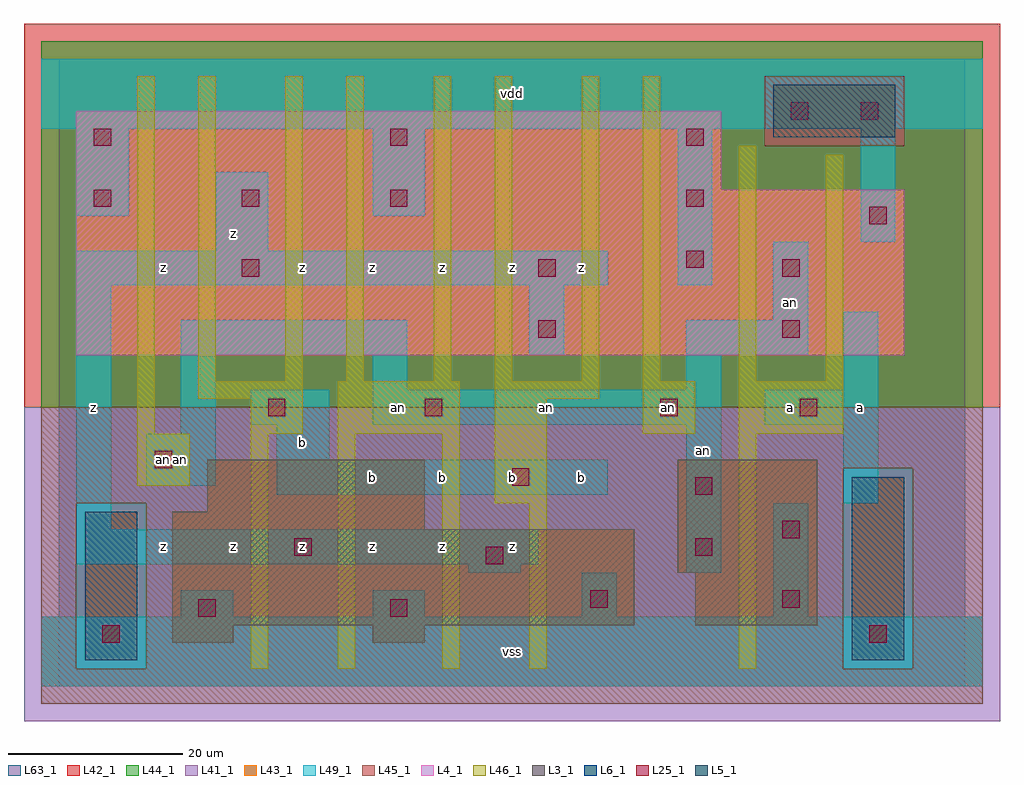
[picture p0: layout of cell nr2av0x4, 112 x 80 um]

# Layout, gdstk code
import gdstk
lib = gdstk.Library(unit=1e-6, precision=1e-09)
def R(c, l, rs):  # rectangles x0, y0, x1, y1
    for r in rs: c.add(gdstk.rectangle(r[:2], r[2:], *l))
def A(c, l, x, y, w, h, nx, ny, dx, dy):  # array of equal rectangles
    R(c, l, [(x+i*dx, y+j*dy, x+i*dx+w, y+j*dy+h) for i in range(nx) for j in range(ny)])
L3_1 = (3, 1)
L4_1 = (4, 1)
L5_1 = (5, 1)
L6_1 = (6, 1)
L25_1 = (25, 1)
L41_1 = (41, 1)
L42_1 = (42, 1)
L43_1 = (43, 1)
L44_1 = (44, 1)
L45_1 = (45, 1)
L46_1 = (46, 1)
L49_1 = (49, 1)
L63_1 = (63, 1)

nr2av0x4 = lib.new_cell('nr2av0x4')
R(nr2av0x4, L3_1, [(13,5,20,7), (36,5,42,7), (13,7,66,18), (73,7,87,13), (71,13,87,26), (13,18,42,20), (17,20,42,26)])
R(nr2av0x4, L4_1, [(2,38,97,57), (2,57,76,66)])
R(nr2av0x4, L5_1, [(82,63,96,69)])
R(nr2av0x4, L6_1, [(3,3,9,20), (3,3,9,20), (91,3,97,24), (91,3,97,24)])
A(nr2av0x4, L25_1, 4, 55, 2, 2, 3, 1, 17, 0)
A(nr2av0x4, L25_1, 4, 62, 2, 2, 3, 1, 34, 0)
R(nr2av0x4, L25_1, [(5,5,7,7), (93,5,95,7), (16,8,18,10), (38,8,40,10), (61,9,63,11), (83,9,85,11), (49,14,51,16), (27,15,29,17), (73,15,75,17), (83,17,85,19), (73,22,75,24), (52,23,54,25), (11,25,13,27), (24,31,26,33), (42,31,44,33), (69,31,71,33), (85,31,87,33), (55,40,57,42), (83,40,85,42), (21,47,23,49), (55,47,57,49), (83,47,85,49), (72,48,74,50), (93,53,95,55), (72,55,74,57), (84,65,86,67), (92,65,94,67)])
R(nr2av0x4, L41_1, [(-4,-4,108,32)])
R(nr2av0x4, L42_1, [(-4,32,108,76)])
R(nr2av0x4, L43_1, [(3,3,9,20), (91,3,97,24), (13,5,20,7), (36,5,42,7), (13,7,66,18), (73,7,87,13), (71,13,87,26), (13,18,42,20), (17,20,42,26), (2,38,97,57), (2,57,76,66), (82,63,96,69)])
R(nr2av0x4, L44_1, [(2,2,10,21), (90,2,98,25), (-2,32,106,62), (-2,62,81,70), (97,62,106,70), (-2,70,106,74)])
R(nr2av0x4, L45_1, [(-2,-2,106,2), (-2,2,2,21), (10,2,90,21), (98,2,106,25), (-2,21,90,25), (-2,25,106,32), (81,62,97,70)])
R(nr2av0x4, L46_1, [(22,2,24,29), (32,2,34,29), (44,2,46,29), (54,2,56,21), (78,2,80,29), (50,21,56,33), (9,23,15,29), (9,29,11,70), (22,29,28,33), (32,29,46,35), (67,29,73,35), (78,29,90,35), (16,33,28,35), (50,33,62,35), (16,35,18,70), (26,35,28,70), (33,35,35,70), (43,35,45,70), (50,35,52,70), (60,35,62,70), (67,35,69,70), (78,35,80,62), (88,35,90,61)])
R(nr2av0x4, L49_1, [(-2,0,106,8), (14,8,20,11), (36,8,42,11), (60,8,64,13), (82,8,86,21), (47,13,53,14), (72,13,76,30), (2,14,55,18), (2,18,6,46), (90,21,94,30), (25,22,63,26), (10,23,18,29), (25,26,31,30), (14,29,18,38), (22,30,31,34), (36,30,76,34), (81,30,94,34), (36,34,40,38), (72,34,76,38), (90,34,94,43), (14,38,40,42), (54,38,58,46), (72,38,86,42), (82,42,86,51), (2,46,63,50), (71,46,75,64), (18,50,24,59), (92,51,96,64), (2,54,8,64), (36,54,42,64), (-2,64,106,72)])
R(nr2av0x4, L63_1, [(0,0,104,72)])
nr2av0x4.add(gdstk.Label('an', (12,26), layer=49, texttype=1))
nr2av0x4.add(gdstk.Label('an', (39,32), layer=46, texttype=1))
nr2av0x4.add(gdstk.Label('an', (70,32), layer=49, texttype=1))
nr2av0x4.add(gdstk.Label('z', (12,16), layer=49, texttype=1))
nr2av0x4.add(gdstk.Label('z', (4,32), layer=49, texttype=1))
nr2av0x4.add(gdstk.Label('an', (14,26), layer=49, texttype=1))
nr2av0x4.add(gdstk.Label('z', (12,48), layer=49, texttype=1))
nr2av0x4.add(gdstk.Label('z', (28,16), layer=49, texttype=1))
nr2av0x4.add(gdstk.Label('z', (36,16), layer=49, texttype=1))
nr2av0x4.add(gdstk.Label('z', (20,16), layer=49, texttype=1))
nr2av0x4.add(gdstk.Label('b', (36,24), layer=49, texttype=1))
nr2av0x4.add(gdstk.Label('b', (28,28), layer=49, texttype=1))
nr2av0x4.add(gdstk.Label('z', (20,52), layer=49, texttype=1))
nr2av0x4.add(gdstk.Label('z', (28,48), layer=49, texttype=1))
nr2av0x4.add(gdstk.Label('z', (36,48), layer=49, texttype=1))
nr2av0x4.add(gdstk.Label('vss', (52,4), layer=49, texttype=1))
nr2av0x4.add(gdstk.Label('z', (52,16), layer=49, texttype=1))
nr2av0x4.add(gdstk.Label('z', (44,16), layer=49, texttype=1))
nr2av0x4.add(gdstk.Label('b', (44,24), layer=49, texttype=1))
nr2av0x4.add(gdstk.Label('b', (52,24), layer=49, texttype=1))
nr2av0x4.add(gdstk.Label('b', (60,24), layer=49, texttype=1))
nr2av0x4.add(gdstk.Label('z', (44,48), layer=49, texttype=1))
nr2av0x4.add(gdstk.Label('z', (52,48), layer=49, texttype=1))
nr2av0x4.add(gdstk.Label('z', (60,48), layer=49, texttype=1))
nr2av0x4.add(gdstk.Label('vdd', (52,68), layer=49, texttype=1))
nr2av0x4.add(gdstk.Label('an', (56,32), layer=49, texttype=1))
nr2av0x4.add(gdstk.Label('an', (74,27), layer=49, texttype=1))
nr2av0x4.add(gdstk.Label('a', (92,32), layer=49, texttype=1))
nr2av0x4.add(gdstk.Label('a', (84,32), layer=49, texttype=1))
nr2av0x4.add(gdstk.Label('an', (84,44), layer=49, texttype=1))

lib.write_gds('nr2av0x4.gds')
